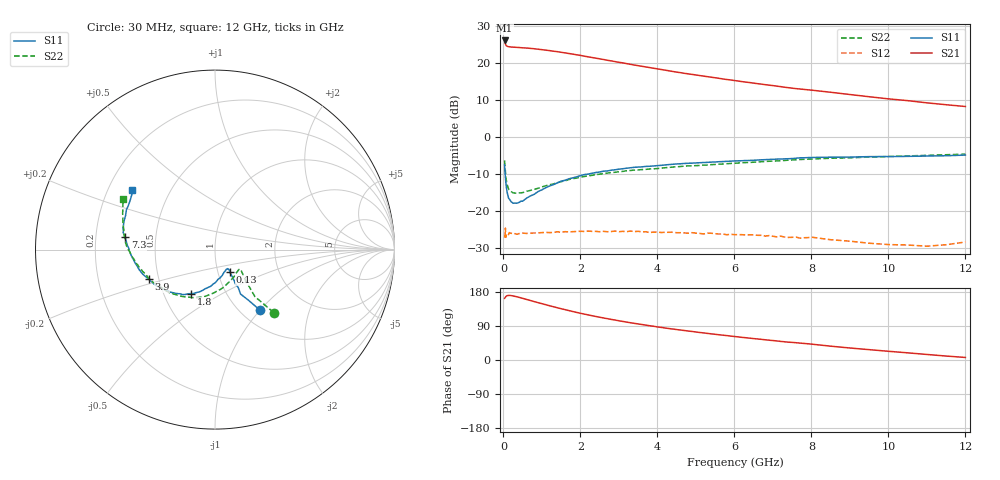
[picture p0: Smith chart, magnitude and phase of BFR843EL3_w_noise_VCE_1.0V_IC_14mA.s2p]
! Infineon Technologies  Discrete & RF Semiconductors
! BFR843EL3
! VCE =  1.0 V,  IC =  14 mA
! Common Emitter S-Parameters:  Aug 2013
# GHz  S  MA  R  50
!  f  S11  S21  S12  S22
! GHz  MAG  ANG  MAG  ANG  MAG  ANG  MAG  ANG
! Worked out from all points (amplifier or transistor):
!   103 points, 30 MHz to 12 GHz, reference 50 ohm
!   highest |S21| = 26.1 dB at 30 MHz (marker M1)
!   |S21| within 3 dB of that: start of sweep to 1.375 GHz
!   unconditionally stable (mu >= 1): 4.988 GHz to end of sweep
!   at 400 MHz: K = 0.99, MSG = 25.2 dB, |S12| = -26.2 dB
!   at 3.7 GHz: K = 0.89, MSG = 22.3 dB, |S12| = -25.6 dB
!   at 12 GHz: K = 2.37, MAG = 11.8 dB, |S12| = -28.4 dB
!   lowest NFmin = 0.97 dB at 450 MHz
!   S11 on the Smith chart (normalised r, x): 30 MHz: 1.22, -1.00; 130 MHz: 1.14, -0.29; 1.8 GHz: 0.69, -0.36; 3.9 GHz: 0.44, -0.17; 7.3 GHz: 0.33, +0.06; 12 GHz: 0.30, +0.29
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0.03  0.4197 -53.4  20.11 162.7  0.0434 26.3  0.4796 -47.0
0.04  0.3369 -56.6  18.82 164.1  0.0451 24.3  0.3904 -48.5
0.06  0.2477 -58.5  17.5 167.1  0.0438 9.6  0.2942 -47.9
0.08  0.202 -58.2  17 168.9  0.0483 11.0  0.2483 -46.0
0.13  0.1495 -56.0  16.58 170.3  0.0477 5.4  0.1994 -40.6
0.25  0.1268 -56.7  16.34 169.1  0.0486 4.9  0.1751 -38.1
0.6  0.1485 -73.9  15.88 159.8  0.0495 2.9  0.184 -54.2
0.9  0.1824 -88.8  15.31 151.3  0.0504 2.5  0.202 -70.1
1.2  0.217 -101.3  14.66 143.1  0.0508 2.2  0.2256 -83.4
1.5  0.252 -110.4  13.92 135.3  0.0513 1.6  0.2485 -95.0
1.8  0.279 -118.5  13.14 128.0  0.0523 1.8  0.2722 -104.3
2.1  0.3093 -125.9  12.34 121.1  0.0527 0.8  0.2911 -113.4
2.6  0.3441 -136.5  11.11 110.9  0.0528 1.4  0.3183 -124.9
3  0.366 -143.4  10.19 103.5  0.0523 -0.6  0.3376 -132.8
3.9  0.404 -156.1  8.466 89.0  0.0517 -0.9  0.3698 -146.8
4.1  0.4123 -158.3  8.14 86.0  0.0509 -2.2  0.3777 -148.9
5.1  0.4472 -169.3  6.741 72.6  0.0495 -3.2  0.4104 -160.5
6.1  0.4741 -178.2  5.682 60.9  0.0477 -4.6  0.4436 -169.7
7.3  0.5041 172.2  4.694 48.1  0.0443 -3.9  0.4802 -179.4
8.5  0.5312 162.4  4.009 36.5  0.0407 -4.6  0.5142 170.7
10.5  0.5452 150.5  3.088 18.9  0.0345 9.4  0.553 158.5
12  0.5674 144.5  2.573 6.7  0.0379 24.4  0.5836 151.4
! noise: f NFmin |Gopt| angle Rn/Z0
0.45  0.97  0.06  98  0.12
0.9  0.97  0.06  104  0.12
1.5  0.99  0.07  109  0.1
1.9  1  0.08  114  0.11
2.4  1.01  0.09  119  0.11
3.5  1.04  0.11  132  0.11
5.5  1.08  0.18  159  0.09
8  1.14  0.29  187  0.07
10  1.17  0.42  215  0.06
